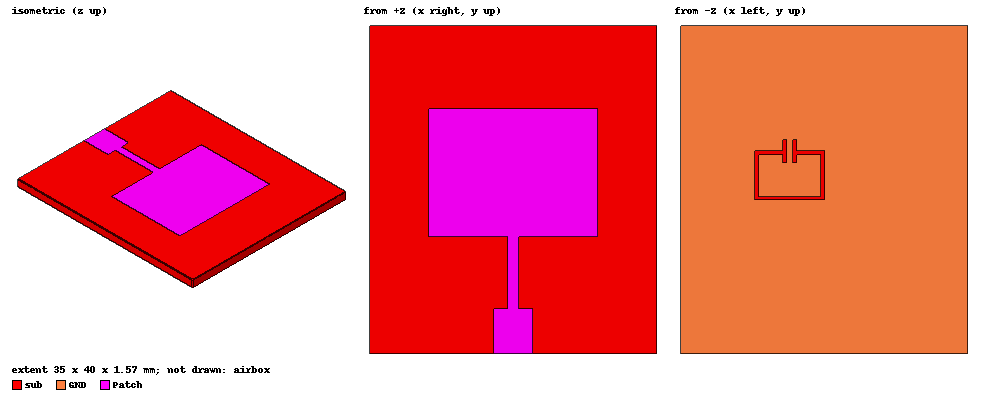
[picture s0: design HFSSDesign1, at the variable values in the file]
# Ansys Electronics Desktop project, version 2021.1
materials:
  vacuum: permittivity=1
  Rogers RT/duroid 5880 (tm): permittivity=2.2 dielectric_loss_tangent=0.0009

design HFSSDesign1 (HFSS, DrivenModal, model units mm)
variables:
  W = 35mm
  L = 40mm
  hs = 1.57mm
  wp = 20.5mm
  d1 = 10.2mm
  lf = 5.5mm
  l1 = 8.72mm
  d2 = 4.5mm
  a = 8.5mm
  g1 = 0.45mm
  b = 6mm
  d = 0.8mm
  c = 2.8mm
  lp = 15.6mm
  wf = 4.73mm
  w1 = 1.42mm
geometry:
  sub [Rogers RT/duroid 5880 (tm)] = box(corner=(0mm, 0mm, 0mm), size=(W, L, hs))
  airbox [vacuum] = box(corner=(-10mm, -10mm, -10mm), size=(W+20mm, L+10mm, 40mm))
  GND = rectangle(corner=(0mm, 0mm, 0mm), x_size=W, y_size=L)
  Rectangle1 = rectangle(corner=(w/2-wp/2+d1, lf+l1+d2, 0mm), x_size=a, y_size=g1)
  Rectangle2 = rectangle(corner=(w/2-wp/2+d1, lf+l1+d2, 0mm), x_size=g1, y_size=b)
  Rectangle3 = rectangle(corner=(w/2-wp/2+d1+a, lf+l1+d2, 0mm), x_size=-g1, y_size=b)
  Rectangle4 = rectangle(corner=(w/2-wp/2+d1+a/2-d/2, lf+l1+d2+b-c/2, 0mm), x_size=-g1, y_size=c)
  Rectangle5 = rectangle(corner=(w/2-wp/2+d1+a/2+d/2, lf+l1+d2+b-c/2, 0mm), x_size=g1, y_size=c)
  Rectangle6 = rectangle(corner=(w/2-wp/2+d1+a/2-d/2, lf+l1+d2+b, 0mm), x_size=-a/2+d/2, y_size=-g1)
  Rectangle7 = rectangle(corner=(w/2-wp/2+d1+a/2+d/2, lf+l1+d2+b, 0mm), x_size=a/2-d/2, y_size=-g1)
  Rectangle7.unite(Rectangle6, Rectangle5, Rectangle4, Rectangle3, Rectangle2, Rectangle1)
  GND.subtract(Rectangle7)
  Patch = rectangle(corner=(w/2-wp/2, lf+l1, hs), x_size=wp, y_size=lp)
  Rectangle8 = rectangle(corner=(w/2-wf/2, 0mm, hs), x_size=wf, y_size=lf)
  Rectangle9 = rectangle(corner=(w/2-w1/2, lf, hs), x_size=w1, y_size=l1)
  Patch.unite(Rectangle8, Rectangle9)
  Rectangle10 = rectangle(corner=(15.135mm, 0mm, 1.57mm), z_size=-hs, x_size=wf)
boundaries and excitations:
  PerfE1: Perfect E Objects=GND
  PerfE2: Perfect E Objects=Patch
  Rad1: Radiation Objects=airbox
  1: Lumped Port Objects=Rectangle10 Modes{Mode1{IntLine{middle of Rectangle10.edge(z opposite corner) -> middle of Rectangle10.edge(z at corner)} CharImp=Zpi RenormImp=50ohm}} Impedance=50ohm
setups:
  Setup1: HfssDriven Frequency=5.8GHz MaxDeltaS=0.02 MaximumPasses=20 MinimumPasses=1 MinimumConvergedPasses=1 PercentRefinement=30 BasisOrder=1 PortAccuracy=2
    sweep Sweep: 1GHz to 7GHz, 51 points; Type=Discrete SaveFields SaveRadFields
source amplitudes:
  1:1: 1W 0deg
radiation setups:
  Infinite Sphere1: Infinite Sphere Theta=-180deg..180deg step 2deg Phi=-180deg..180deg step 2deg
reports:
  S Parameter Plot 1: dB(S(1,1)) vs Freq on Setup1 : Sweep; markers m1 at 5.68GHz, m2 at 3.4GHz
  VSWR Plot 1: abs(VSWR(1)) vs Freq on Setup1 : Sweep
  Antenna Params Plot 1: dB(PeakGain) vs Freq on Setup1 : Sweep
  Antenna Params Plot 2: abs(RadiationEfficiency) vs Freq on Setup1 : Sweep
  Gain Plot 1: dB(GainPhi), dB(GainTheta) vs Theta on Setup1 : Sweep, Infinite Sphere1 [Phi=0deg Freq=5.8GHz]
  Gain Plot 2: dB(GainPhi), dB(GainTheta) vs Theta on Setup1 : Sweep, Infinite Sphere1 [Phi=90deg Freq=5.8GHz]
  Gain Plot 3: dB(GainTotal) vs Phi, Theta on Setup1 : LastAdaptive, Infinite Sphere1 [Freq=5.8GHz]
